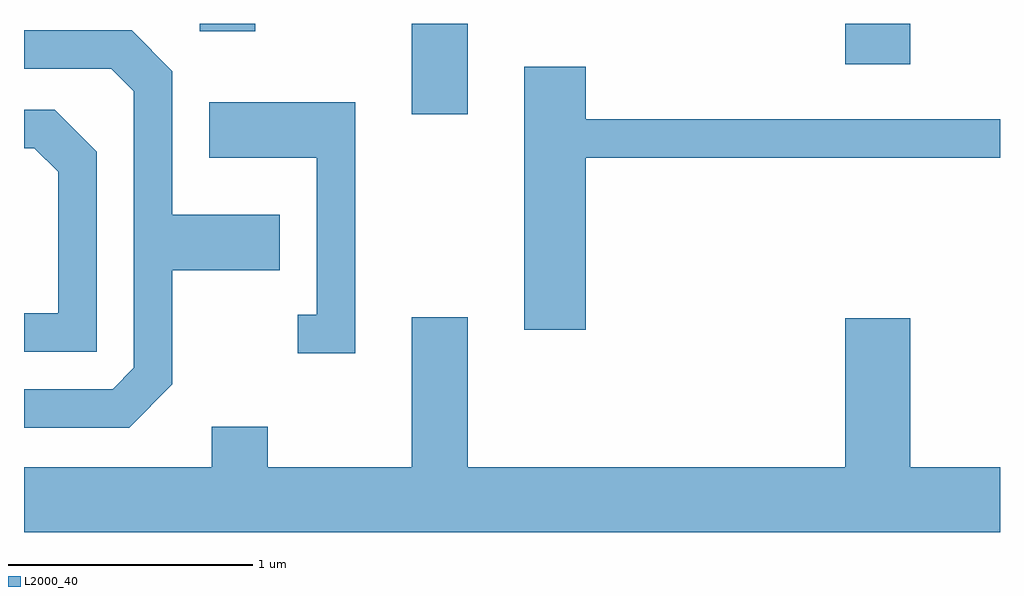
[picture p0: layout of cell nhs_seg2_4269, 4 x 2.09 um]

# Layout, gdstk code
import gdstk
lib = gdstk.Library(unit=1e-6, precision=1e-09)
def R(c, l, rs):  # rectangles x0, y0, x1, y1
    for r in rs: c.add(gdstk.rectangle(r[:2], r[2:], *l))
def P(c, l, *ps):  # polygons
    for p in ps: c.add(gdstk.Polygon(p, *l))
L2000_40 = (2000, 40)

nhs_seg2_4269 = lib.new_cell('nhs_seg2_4269')
R(nhs_seg2_4269, L2000_40, [(313.201,983.431,313.429,983.802), (314.976,983.636,315.244,983.802), (312.331,983.771,312.559,983.802)])
P(nhs_seg2_4269, L2000_40, [(312.219,982.324),(312.219,982.791),(312.659,982.791),(312.659,983.019),(312.219,983.019),(312.219,983.607),(312.052,983.774),(311.611,983.774),(311.611,983.616),(311.969,983.616),(312.061,983.524),(312.061,982.392),(311.974,982.304),(311.611,982.304),(311.611,982.146),(312.042,982.146)],
  [(313.914,983.251),(315.611,983.251),(315.611,983.409),(313.914,983.409),(313.914,983.624),(313.661,983.624),(313.661,982.546),(313.914,982.546)],
  [(312.969,983.479),(312.371,983.479),(312.371,983.251),(312.811,983.251),(312.811,982.609),(312.733,982.609),(312.733,982.451),(312.969,982.451)],
  [(311.909,983.277),(311.737,983.449),(311.611,983.449),(311.611,983.291),(311.654,983.291),(311.751,983.194),(311.751,982.614),(311.611,982.614),(311.611,982.456),(311.909,982.456)],
  [(315.611,981.984),(315.244,981.984),(315.244,982.594),(314.976,982.594),(314.976,981.984),(313.429,981.984),(313.429,982.599),(313.201,982.599),(313.201,981.984),(312.609,981.984),(312.609,982.149),(312.381,982.149),(312.381,981.984),(311.611,981.984),(311.611,981.716),(315.611,981.716)])

lib.write_gds('nhs_seg2_4269.gds')
